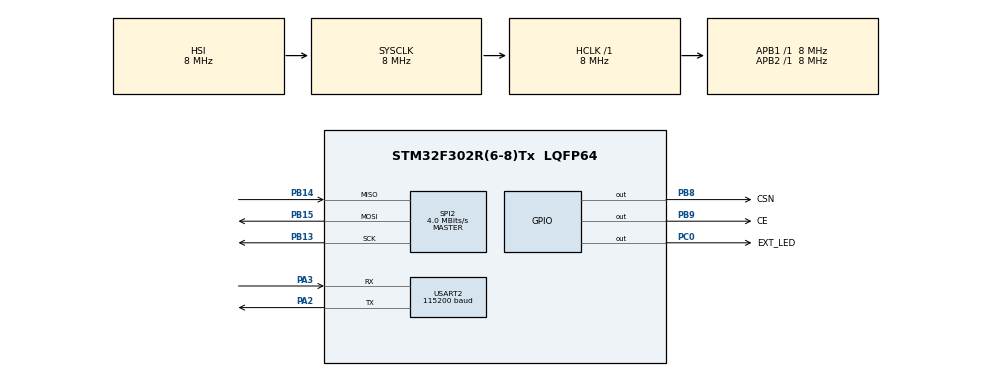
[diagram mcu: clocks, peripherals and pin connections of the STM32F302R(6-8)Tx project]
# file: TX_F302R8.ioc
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FREERTOS.Tasks01=sendData,16,128,StartSendData,Default,NULL,Dynamic,NULL,NULL;rcvData,24,128,StartRcvData,Default,NULL,Dynamic,NULL,NULL
FREERTOS.configUSE_NEWLIB_REENTRANT=1
Mcu.Family=STM32F3
Mcu.Name=STM32F302R(6-8)Tx
Mcu.Package=LQFP64
NVIC.PriorityGroup=NVIC_PRIORITYGROUP_4
NVIC.TIM6_DAC_IRQn=true\:15\:0\:false\:false\:true\:false\:false\:true\:true
NVIC.TimeBase=TIM6_DAC_IRQn
NVIC.TimeBaseIP=TIM6
NVIC.USART2_IRQn=true\:5\:0\:false\:false\:true\:true\:true\:true\:true
PA2.Mode=Asynchronous
PA2.Signal=USART2_TX
PA3.Mode=Asynchronous
PA3.Signal=USART2_RX
PB13.Mode=Full_Duplex_Master
PB13.Signal=SPI2_SCK
PB14.Mode=Full_Duplex_Master
PB14.Signal=SPI2_MISO
PB15.Mode=Full_Duplex_Master
PB15.Signal=SPI2_MOSI
PB8.GPIO_Label=CSN
PB8.Signal=GPIO_Output
PB9.GPIO_Label=CE
PB9.Signal=GPIO_Output
PC0.GPIO_Label=EXT_LED
PC0.Signal=GPIO_Output
PF0-OSC_IN.Mode=HSE-External-Oscillator
PF0-OSC_IN.Signal=RCC_OSC_IN
PF1-OSC_OUT.Mode=HSE-External-Oscillator
PF1-OSC_OUT.Signal=RCC_OSC_OUT
ProjectManager.HeapSize=0x200
ProjectManager.StackSize=0x400
ProjectManager.TargetToolchain=STM32CubeIDE
RCC.AHBFreq_Value=8000000
RCC.APB1Freq_Value=8000000
RCC.APB2Freq_Value=8000000
RCC.CortexFreq_Value=8000000
RCC.HSE_VALUE=8000000
RCC.HSI_VALUE=8000000
RCC.LSE_VALUE=32768
RCC.PLLSourceVirtual=RCC_PLLSOURCE_HSE
RCC.SYSCLKFreq_VALUE=8000000
RCC.USBFreq_Value=16000000
SPI2.CalculateBaudRate=4.0 MBits/s
SPI2.DataSize=SPI_DATASIZE_8BIT
SPI2.Direction=SPI_DIRECTION_2LINES
SPI2.Mode=SPI_MODE_MASTER
SPI2.VirtualType=VM_MASTER
USART2.BaudRate=115200
USART2.VirtualMode-Asynchronous=VM_ASYNC
VP_FREERTOS_VS_CMSIS_V2.Mode=CMSIS_V2
VP_SYS_VS_tim6.Mode=TIM6
board=custom

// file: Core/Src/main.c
/* USER CODE BEGIN Header */
/**
  ******************************************************************************
  * @file           : main.c
  * @brief          : Main program body
  ******************************************************************************
  * @attention
  *
  * Copyright (c) 2023 STMicroelectronics.
  * All rights reserved.
  *
  * This software is licensed under terms that can be found in the LICENSE file
  * in the root directory of this software component.
  * If no LICENSE file comes with this software, it is provided AS-IS.
  *
  ******************************************************************************
  */
/* USER CODE END Header */
#include "main.h"
#include "cmsis_os.h"
#include "MY_NRF24.h"

SPI_HandleTypeDef hspi2;

UART_HandleTypeDef huart2;

/* Definitions for sendData */
osThreadId_t sendDataHandle;
const osThreadAttr_t sendData_attributes = {
  .name = "sendData",
  .stack_size = 128 * 4,
  .priority = (osPriority_t) osPriorityBelowNormal,
};
/* Definitions for rcvData */
osThreadId_t rcvDataHandle;
const osThreadAttr_t rcvData_attributes = {
  .name = "rcvData",
  .stack_size = 128 * 4,
  .priority = (osPriority_t) osPriorityNormal,
};

void SystemClock_Config(void);
static void MX_GPIO_Init(void);
static void MX_SPI2_Init(void);
static void MX_USART2_UART_Init(void);
void StartSendData(void *argument);
void StartRcvData(void *argument);

/* USER CODE BEGIN 0 */
static const uint8_t queueLen = 1;
//static QueueHandle_t coords;
uint8_t buffer[8];
uint8_t payload[6];
uint64_t txPipeAddrs = 0x11223344AA;
//char ackPayload[32];
char formattedPayload[32];
/* USER CODE END 0 */

int main(void)
{

  /* MCU Configuration--------------------------------------------------------*/

  /* Reset of all peripherals, Initializes the Flash interface and the Systick. */
  HAL_Init();

  /* Configure the system clock */
  SystemClock_Config();

  /* Initialize all configured peripherals */
  MX_GPIO_Init();
  MX_SPI2_Init();
  MX_USART2_UART_Init();
  /* USER CODE BEGIN 2 */
  //**** GPIO(PORT), GPIO_PIN_(CSN), GPIO_PIN_(CE), SPI_HANDLE ****//
  NRF24_begin(GPIOB, GPIO_PIN_8, GPIO_PIN_9, hspi2); //CSN and CE share port
  nrf24_DebugUART_Init(huart2); //USART port for debugging
  NRF24_stopListening(); //Transmitter config
  NRF24_openWritingPipe(txPipeAddrs);
  //**** DISABLE TRANSMIT - ACK ****//
  NRF24_setAutoAck(false);
  NRF24_setChannel(52);
  NRF24_setPayloadSize(6);
  NRF24_enableDynamicPayloads();
  //NRF24_enableAckPayload();
  printRadioSettings(); //NRF24L01+ register dump
  /* USER CODE END 2 */

  /* Init scheduler */
  osKernelInitialize();

  /* Create the thread(s) */
  /* creation of sendData */
  sendDataHandle = osThreadNew(StartSendData, NULL, &sendData_attributes);

  /* creation of rcvData */
  rcvDataHandle = osThreadNew(StartRcvData, NULL, &rcvData_attributes);

  /* Start scheduler */
  osKernelStart();

  /* We should never get here as control is now taken by the scheduler */
  /* Infinite loop */
  while (1)
  {

  }
}

void SystemClock_Config(void)
{
  RCC_OscInitTypeDef RCC_OscInitStruct = {0};
  RCC_ClkInitTypeDef RCC_ClkInitStruct = {0};

  /** Initializes the RCC Oscillators according to the specified parameters
  * in the RCC_OscInitTypeDef structure.
  */
  RCC_OscInitStruct.OscillatorType = RCC_OSCILLATORTYPE_HSI;
  RCC_OscInitStruct.HSIState = RCC_HSI_ON;
  RCC_OscInitStruct.HSICalibrationValue = RCC_HSICALIBRATION_DEFAULT;
  RCC_OscInitStruct.PLL.PLLState = RCC_PLL_NONE;
  if (HAL_RCC_OscConfig(&RCC_OscInitStruct) != HAL_OK)
  {
    Error_Handler();
  }

  /** Initializes the CPU, AHB and APB buses clocks
  */
  RCC_ClkInitStruct.ClockType = RCC_CLOCKTYPE_HCLK|RCC_CLOCKTYPE_SYSCLK
                              |RCC_CLOCKTYPE_PCLK1|RCC_CLOCKTYPE_PCLK2;
  RCC_ClkInitStruct.SYSCLKSource = RCC_SYSCLKSOURCE_HSI;
  RCC_ClkInitStruct.AHBCLKDivider = RCC_SYSCLK_DIV1;
  RCC_ClkInitStruct.APB1CLKDivider = RCC_HCLK_DIV1;
  RCC_ClkInitStruct.APB2CLKDivider = RCC_HCLK_DIV1;

  if (HAL_RCC_ClockConfig(&RCC_ClkInitStruct, FLASH_LATENCY_0) != HAL_OK)
  {
    Error_Handler();
  }
}

static void MX_SPI2_Init(void)
{

  /* SPI2 parameter configuration*/
  hspi2.Instance = SPI2;
  hspi2.Init.Mode = SPI_MODE_MASTER;
  hspi2.Init.Direction = SPI_DIRECTION_2LINES;
  hspi2.Init.DataSize = SPI_DATASIZE_8BIT;
  hspi2.Init.CLKPolarity = SPI_POLARITY_LOW;
  hspi2.Init.CLKPhase = SPI_PHASE_1EDGE;
  hspi2.Init.NSS = SPI_NSS_SOFT;
  hspi2.Init.BaudRatePrescaler = SPI_BAUDRATEPRESCALER_2;
  hspi2.Init.FirstBit = SPI_FIRSTBIT_MSB;
  hspi2.Init.TIMode = SPI_TIMODE_DISABLE;
  hspi2.Init.CRCCalculation = SPI_CRCCALCULATION_DISABLE;
  hspi2.Init.CRCPolynomial = 7;
  hspi2.Init.CRCLength = SPI_CRC_LENGTH_DATASIZE;
  hspi2.Init.NSSPMode = SPI_NSS_PULSE_ENABLE;
  if (HAL_SPI_Init(&hspi2) != HAL_OK)
  {
    Error_Handler();
  }

}

static void MX_USART2_UART_Init(void)
{

  huart2.Instance = USART2;
  huart2.Init.BaudRate = 115200;
  huart2.Init.WordLength = UART_WORDLENGTH_8B;
  huart2.Init.StopBits = UART_STOPBITS_1;
  huart2.Init.Parity = UART_PARITY_NONE;
  huart2.Init.Mode = UART_MODE_TX_RX;
  huart2.Init.HwFlowCtl = UART_HWCONTROL_NONE;
  huart2.Init.OverSampling = UART_OVERSAMPLING_16;
  huart2.Init.OneBitSampling = UART_ONE_BIT_SAMPLE_DISABLE;
  huart2.AdvancedInit.AdvFeatureInit = UART_ADVFEATURE_NO_INIT;
  if (HAL_UART_Init(&huart2) != HAL_OK)
  {
    Error_Handler();
  }

}

static void MX_GPIO_Init(void)
{
  GPIO_InitTypeDef GPIO_InitStruct = {0};

  /* GPIO Ports Clock Enable */
  __HAL_RCC_GPIOF_CLK_ENABLE();
  __HAL_RCC_GPIOC_CLK_ENABLE();
  __HAL_RCC_GPIOA_CLK_ENABLE();
  __HAL_RCC_GPIOB_CLK_ENABLE();

  /*Configure GPIO pin Output Level */
  HAL_GPIO_WritePin(EXT_LED_GPIO_Port, EXT_LED_Pin, GPIO_PIN_RESET);

  /*Configure GPIO pin Output Level */
  HAL_GPIO_WritePin(GPIOB, CSN_Pin|CE_Pin, GPIO_PIN_RESET);

  /*Configure GPIO pin : EXT_LED_Pin */
  GPIO_InitStruct.Pin = EXT_LED_Pin;
  GPIO_InitStruct.Mode = GPIO_MODE_OUTPUT_PP;
  GPIO_InitStruct.Pull = GPIO_NOPULL;
  GPIO_InitStruct.Speed = GPIO_SPEED_FREQ_LOW;
  HAL_GPIO_Init(EXT_LED_GPIO_Port, &GPIO_InitStruct);

  /*Configure GPIO pins : CSN_Pin CE_Pin */
  GPIO_InitStruct.Pin = CSN_Pin|CE_Pin;
  GPIO_InitStruct.Mode = GPIO_MODE_OUTPUT_PP;
  GPIO_InitStruct.Pull = GPIO_NOPULL;
  GPIO_InitStruct.Speed = GPIO_SPEED_FREQ_LOW;
  HAL_GPIO_Init(GPIOB, &GPIO_InitStruct);

}

void StartSendData(void *argument)
{
  /* USER CODE BEGIN 5 */
  /* Infinite loop */
  for(;;)
  {
	    if(NRF24_write(payload, 6))
		{
			//HAL_GPIO_TogglePin(LED_GPIO_Port, LED_Pin);
			//NRF24_read(ackPayload, 32);
			sprintf(formattedPayload, "%02X %02X %02X %02X %02X %02X \r\n", payload[0], payload[1], payload[2], payload[3], payload[4], payload[5]);
			HAL_UART_Transmit_IT(&huart2, (uint8_t *)formattedPayload, strlen(formattedPayload));
			//HAL_UART_Transmit_IT(&huart2, (uint8_t *)"Transmit Successful\r\n", strlen("Transmit Successful\r\n"));
			//char myDataAck[80];
			//sprintf(myDataAck, "ackPayload:  %s \r\n", ackPayload);
			//HAL_UART_Transmit(&huart2, (uint8_t *)myDataAck, strlen(myDataAck), 10);
		}
	    osDelay(1000);
  }
  /* USER CODE END 5 */
}

void StartRcvData(void *argument)
{
  /* USER CODE BEGIN StartRcvData */
  /* Infinite loop */
  for(;;)
  {
	    HAL_UART_Receive_IT(&huart2, buffer, 8);
		//sprintf(formattedPayload, "%02X %02X %02X %02X %02X %02X %02X %02X \r\n", buffer[0], buffer[1], buffer[2], buffer[3], buffer[4], buffer[5], buffer[6], buffer[7]);
		//HAL_UART_Transmit(&huart2, (uint8_t *)formattedPayload, strlen(formattedPayload), 10);
		//HAL_Delay(500);
		for (int i = 0; i < 6; i++) {
				payload[i] = buffer[i+2];
				buffer[i+2] = 0xFF; //Buffer reset for default (not found) value
			}
		osDelay(1000);
  }
  /* USER CODE END StartRcvData */
}

void HAL_TIM_PeriodElapsedCallback(TIM_HandleTypeDef *htim)
{
  if (htim->Instance == TIM6) {
    HAL_IncTick();
  }
}

void Error_Handler(void)
{
  __disable_irq();
  while (1)
  {
  }
}
